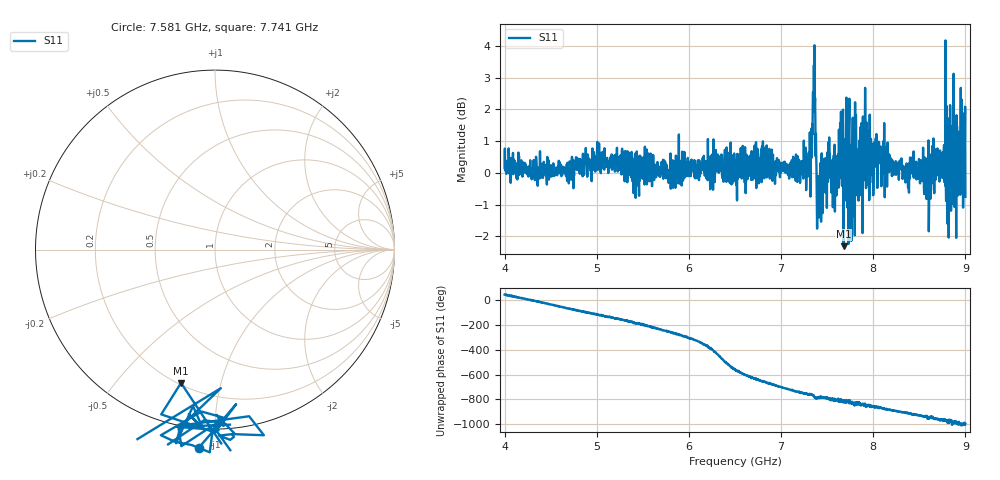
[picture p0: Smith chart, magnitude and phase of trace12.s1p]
! Created with skrf 1.8.0 (http://scikit-rf.org).
# Hz S RI R 50.0
!freq ReS11 ImS11
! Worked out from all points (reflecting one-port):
!   1601 points, 4 GHz to 9 GHz, reference 50 ohm
!   lowest |S11| = -2.3 dB at 7.678 GHz (marker M1), VSWR 7.57, Z = 10.5 - j37.8 ohm
!   phase of S11 starts at 48 deg and turns -1047 deg over the sweep
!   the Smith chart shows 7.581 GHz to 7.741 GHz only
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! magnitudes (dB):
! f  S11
! 4 GHz  0.2
! 4.625 GHz  -0.1
! 5.25 GHz  0.1
! 5.875 GHz  -0.1
! 6.5 GHz  0.1
! 7.125 GHz  0.3
! 7.294 GHz  0.1
! 7.347 GHz  2.6
! 7.362 GHz  4.0
! 7.409 GHz  -1.0
! 7.503 GHz  -0.1
! 7.575 GHz  -0.4
! 7.65 GHz  1.9
! 7.678 GHz  -2.3
! 7.75 GHz  0.9
! 7.784 GHz  -0.9
! 7.828 GHz  0.4
! 7.928 GHz  1.6
! 7.981 GHz  0.1
! 8.094 GHz  0.5
! 8.375 GHz  -0.2
! 8.441 GHz  -0.2
! 8.603 GHz  -1.8
! 8.656 GHz  0.6
! 8.809 GHz  1.7
! 8.875 GHz  0.7
! 8.972 GHz  0.5
! 9 GHz  -0.8
